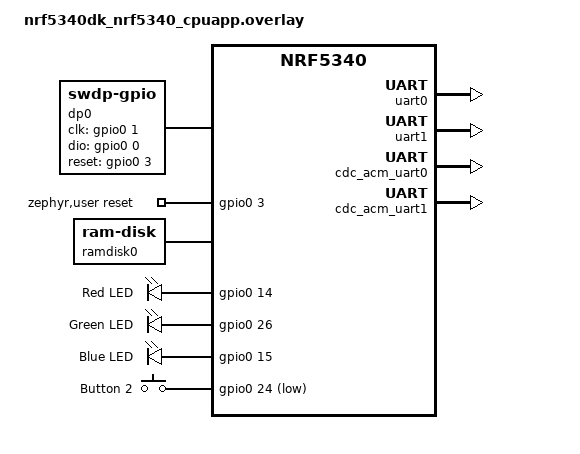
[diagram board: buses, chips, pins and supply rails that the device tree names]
/*
 * Copyright (c) 2023 Nordic Semiconductor ASA
 *
 * SPDX-License-Identifier: LicenseRef-Nordic-5-Clause
 */


/ {
	dp0 {
		compatible = "zephyr,swdp-gpio";
		status = "okay";
		/* SWD0
		clk-gpios = <&gpio1 12 GPIO_ACTIVE_HIGH>;
		dio-gpios = <&gpio1 14 GPIO_ACTIVE_HIGH>;
		reset-gpios = <&gpio0 31 GPIO_ACTIVE_HIGH>;
		*/
		/* SWD1
		clk-gpios = <&gpio0 25 GPIO_ACTIVE_HIGH>;
		dio-gpios = <&gpio0 27 GPIO_ACTIVE_HIGH>;
		reset-gpios = <&gpio1 7 GPIO_ACTIVE_HIGH>;
		*/
		/* SWD2
		clk-gpios = <&gpio1 1 GPIO_ACTIVE_HIGH>;
		dio-gpios = <&gpio1 0 GPIO_ACTIVE_HIGH>;
		reset-gpios = <&gpio0 11 GPIO_ACTIVE_HIGH>;
		*/
		/* SWD3 */
		clk-gpios = <&gpio0 1 GPIO_ACTIVE_HIGH>;
		dio-gpios = <&gpio0 0 GPIO_ACTIVE_HIGH>;
		reset-gpios = <&gpio0 3 GPIO_ACTIVE_HIGH>;
		port-write-cycles = <12>;
	};

	zephyr,user {
		reset-gpios = <&gpio0 3 GPIO_ACTIVE_HIGH>;
	};

	chosen {
		zephyr,console = &rtt0;
		zephyr,shell-uart = &rtt0;
		zephyr,uart-mcumgr = &rtt0;
		zephyr,bt-mon-uart = &rtt0;
		zephyr,bt-c2h-uart = &rtt0;
	};

	ramdisk0 {
		compatible = "zephyr,ram-disk";
		disk-name = "RAM";
		sector-size = <512>;
		sector-count = <128>;
	};

	leds {
		compatible = "gpio-leds";
		led0: led_0 {
			gpios = <&gpio0 14 GPIO_ACTIVE_HIGH>;
			label = "Red LED";
		};
		led1: led_1 {
			gpios = <&gpio0 26 GPIO_ACTIVE_HIGH>;
			label = "Green LED";
		};
		led2: led_2 {
			gpios = <&gpio0 15 GPIO_ACTIVE_HIGH>;
			label = "Blue LED";
		};
	};

	buttons {
		compatible = "gpio-keys";
		button0: button_0 {
			gpios = <&gpio0 24 (GPIO_PULL_UP | GPIO_ACTIVE_LOW)>;
			label = "Button 2";
		};
	};
};

&uart0 {
	status = "okay";
};

&uart1 {
	status = "okay";
};


&zephyr_udc0 {
	cdc_acm_uart0: cdc_acm_uart0 {
		compatible = "zephyr,cdc-acm-uart";
	};

	cdc_acm_uart1: cdc_acm_uart1 {
		compatible = "zephyr,cdc-acm-uart";
	};

	rtt0: rtt_chan0 {
		compatible = "segger,rtt-uart";
		status = "okay";
	};
};


&pinctrl {
	uart0_default: uart0_default {
		group1 {
			psels = <NRF_PSEL(UART_TX, 0, 29)>;
		};
		group2 {
			psels = <NRF_PSEL(UART_RX, 1, 4)>;
			bias-pull-up;
		};
	};

	uart0_sleep: uart0_sleep {
		group1 {
			psels = <NRF_PSEL(UART_TX, 0, 29)>,
				<NRF_PSEL(UART_RX, 1, 4)>;
			low-power-enable;
		};
	};

	uart1_default: uart1_default {
		group1 {
			psels = <NRF_PSEL(UART_TX, 1, 8)>;
		};
		group2 {
			psels = <NRF_PSEL(UART_RX, 1, 6)>;
			bias-pull-up;
		};
	};

	uart1_sleep: uart1_sleep {
		group1 {
			psels = <NRF_PSEL(UART_TX, 1, 8)>,
				<NRF_PSEL(UART_RX, 1, 6)>;
			low-power-enable;
		};
	};
};

&uicr {
	nfct-pins-as-gpios;
};

&gpio_fwd {
	status = "disabled";
};
